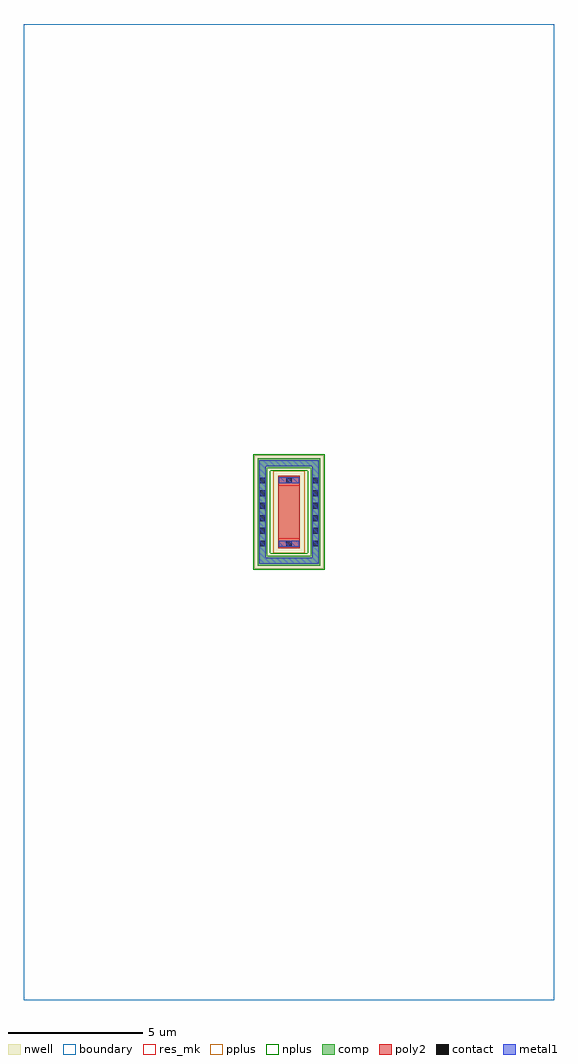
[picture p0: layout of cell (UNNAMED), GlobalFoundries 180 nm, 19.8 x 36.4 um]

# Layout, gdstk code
import gdstk
lib = gdstk.Library(unit=1e-6, precision=1e-09)
def R(c, l, rs):  # rectangles x0, y0, x1, y1
    for r in rs: c.add(gdstk.rectangle(r[:2], r[2:], *l))
def A(c, l, x, y, w, h, nx, ny, dx, dy):  # array of equal rectangles
    R(c, l, [(x+i*dx, y+j*dy, x+i*dx+w, y+j*dy+h) for i in range(nx) for j in range(ny)])
boundary = (0, 0)
nwell = (21, 0)
comp = (22, 0)
poly2 = (30, 0)
pplus = (31, 0)
nplus = (32, 0)
contact = (33, 0)
metal1 = (34, 0)
res_mk = (110, 5)

c__unnamed_ = lib.new_cell('(UNNAMED)')
R(c__unnamed_, boundary, [(-9.9,-18.2,9.9,18.2)])
R(c__unnamed_, nwell, [(-1.29,-2.12,1.29,2.12)])
R(c__unnamed_, comp, [(-1.17,-2,1.17,-1.64), (-1.17,-1.64,-0.81,1.64), (0.81,-1.64,1.17,1.64), (-1.17,1.64,1.17,2)])
R(c__unnamed_, poly2, [(-0.4,-1.36,0.4,1.36)])
R(c__unnamed_, pplus, [(-0.58,-1.54,0.58,1.54)])
R(c__unnamed_, nplus, [(-1.33,-2.16,1.33,-1.53), (-1.33,-1.53,-0.7,1.53), (0.7,-1.53,1.33,1.53), (-1.33,1.53,1.33,2.16)])
A(c__unnamed_, contact, -1.1, -1.285, 0.22, 0.22, 1, 6, 0, 0.47)
A(c__unnamed_, contact, 0.88, -1.285, 0.22, 0.22, 1, 6, 0, 0.47)
R(c__unnamed_, contact, [(-0.11,-1.29,0.11,-1.07), (-0.11,1.07,0.11,1.29)])
R(c__unnamed_, metal1, [(-1.105,-1.935,1.105,-1.705), (-1.105,-1.705,-0.875,1.705), (0.875,-1.705,1.105,1.705), (-0.39,-1.295,0.39,-1.065), (-0.39,1.065,0.39,1.295), (-1.105,1.705,1.105,1.935)])
R(c__unnamed_, res_mk, [(-0.4,-1,0.4,1)])

lib.write_gds('_UNNAMED_.gds')
